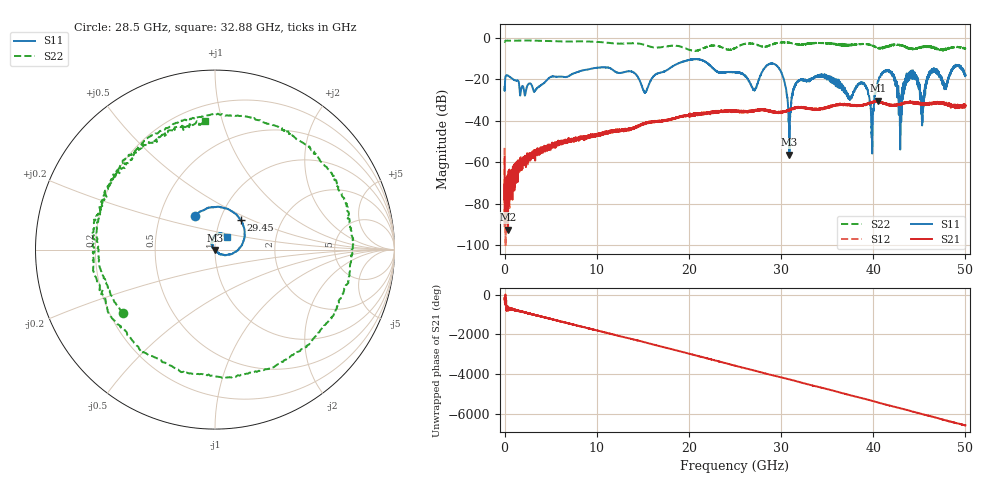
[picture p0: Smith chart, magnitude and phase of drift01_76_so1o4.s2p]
!Created with skrf (http://scikit-rf.org).
# Hz S RI R 50.0
!freq ReS11 ImS11 ReS21 ImS21 ReS12 ImS12 ReS22 ImS22
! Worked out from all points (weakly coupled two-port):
!   10001 points, 300 kHz to 50 GHz, reference 50 ohm
!   highest |S21| = -30.38 dB at 40.54 GHz (marker M1); lowest = -92.4 dB at 375.3 MHz (marker M2)
!   lowest |S11| = -56.4 dB at 30.91 GHz (marker M3), VSWR 1.00, Z = 49.9 - j0.131 ohm
!   |S11| at or under -10 dB: start of sweep to end of sweep
!   |S22| runs from -6.4 to -1.4 dB; largest |S21 - S12| = 0.0038
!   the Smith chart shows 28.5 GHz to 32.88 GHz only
!   S11 on the Smith chart (normalised r, x): 28.5 GHz: 0.75, +0.29; 29.45 GHz: 1.25, +0.43; 32.88 GHz: 1.13, +0.15
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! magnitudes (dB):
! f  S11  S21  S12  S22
! 300 kHz  -23.8  -57.2  -53.1  -2.1
! 375.3 MHz  -18.3  -92.4  -76.7  -1.4
! 3.19 GHz  -26.0  -56.1  -55.8  -1.4
! 8.335 GHz  -15.9  -48.3  -48.0  -1.8
! 15.23 GHz  -26.5  -41.4  -41.2  -3.5
! 16.67 GHz  -17.1  -40.3  -40.4  -4.8
! 25 GHz  -16.5  -35.5  -35.4  -5.0
! 27.09 GHz  -25.1  -35.2  -35.5  -3.0
! 28.5 GHz  -13.3  -34.8  -34.9  -4.1
! 29.45 GHz  -13.2  -35.7  -35.8  -2.7
! 30.91 GHz  -56.4  -35.0  -34.7  -2.5
! 32.88 GHz  -20.6  -34.0  -34.1  -2.9
! 33.34 GHz  -20.0  -34.4  -34.3  -2.7
! 38.92 GHz  -22.1  -32.5  -32.4  -3.1
! 39.86 GHz  -46.4  -31.2  -31.1  -3.7
! 40.54 GHz  -20.8  -30.4  -30.8  -5.0
! 41.67 GHz  -15.6  -32.2  -32.4  -4.1
! 42.99 GHz  -31.7  -31.8  -32.0  -3.5
! 43.97 GHz  -16.4  -31.3  -30.9  -5.3
! 45.32 GHz  -36.0  -31.8  -31.9  -4.5
! 46.42 GHz  -15.1  -31.5  -31.7  -4.9
! 50 GHz  -17.9  -32.5  -32.6  -5.2
